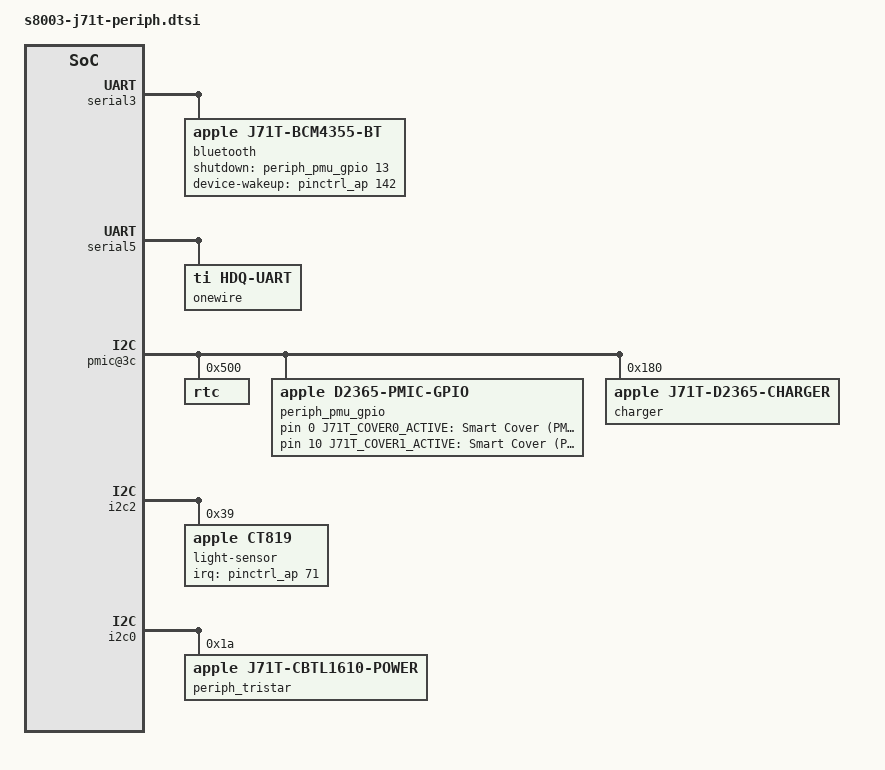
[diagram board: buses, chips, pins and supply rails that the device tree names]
// SPDX-License-Identifier: GPL-2.0+ OR MIT
/* Round 1 J71t peripherals. Hardware values: Apple's J71t ADT. */

#include <dt-bindings/input/input.h>

/*
 * Smart Cover hall sensors: PMIC GPIO lines 0 ("halleffect") and 10
 * ("halleffect1") in the ADT's /buttons node. Which level means "cover
 * closed" is not measured yet (docs/periph/ds-als-hall.md H1); the guess is a
 * magnet pulling the line low. After measuring with evtest, change the
 * define (GPIO_ACTIVE_HIGH if SW_LID reads 1 with the cover open) and rebuild
 * the dtb, or flip the flag of a built dtb with scripts/sensors/cover-polarity.sh.
 */
#define J71T_COVER0_ACTIVE	GPIO_ACTIVE_LOW
#define J71T_COVER1_ACTIVE	GPIO_ACTIVE_LOW

/ {
	aliases {
		serial3 = &serial3;
		serial5 = &serial5;
		bluetooth0 = &bluetooth;
	};

	/*
	 * Not named "Lid Switch": systemd-logind and Omarchy's Hyprland
	 * bindings pick the lid up by that name and would suspend on a cover
	 * close, which does not resume yet. The ipad-lid user daemon of the
	 * tablet layer reads these instead.
	 *
	 * Polled: gpio-apple-d2365 has no irq_chip, so there is no wakeup
	 * either (docs/periph/ds-als-hall.md 4.2). Each line is its own device so
	 * that one the PMIC keeps for itself (the driver refuses those) cannot
	 * take the other down.
	 */
	smart-cover {
		compatible = "gpio-keys-polled";
		poll-interval = <50>;
		label = "iPad Smart Cover";

		lid-switch {
			label = "Smart Cover (PMIC GPIO 0)";
			gpios = <&periph_pmu_gpio 0 J71T_COVER0_ACTIVE>;
			linux,input-type = <EV_SW>;
			linux,code = <SW_LID>;
			debounce-interval = <50>;
		};
	};

	/*
	 * The second hall, which this does not tell apart from the first one
	 * (H4): a code of its own, so evtest shows each line separately.
	 */
	smart-cover-aux {
		compatible = "gpio-keys-polled";
		poll-interval = <50>;
		label = "iPad Smart Cover 2";

		cover-switch {
			label = "Smart Cover (PMIC GPIO 10)";
			gpios = <&periph_pmu_gpio 10 J71T_COVER1_ACTIVE>;
			linux,input-type = <EV_SW>;
			linux,code = <SW_MACHINE_COVER>;
			debounce-interval = <50>;
		};
	};
};

&{/soc} {
	serial3: serial@20a0cc000 {
		compatible = "apple,s8000-uart", "apple,s5l-uart";
		reg = <0x2 0x0a0cc000 0 0x4000>;
		reg-io-width = <4>;
		interrupts = <AIC_IRQ 195 IRQ_TYPE_LEVEL_HIGH>;
		clocks = <&clkref>, <&clkref>;
		clock-names = "uart", "clk_uart_baud0";
		power-domains = <&ps_uart3>;
		pinctrl-0 = <&bluetooth_uart3_pins>;
		pinctrl-names = "default";
		uart-has-rtscts;
		status = "okay";

		bluetooth: bluetooth {
			compatible = "apple,j71t-bcm4355-bt";
			/* 115200 ROM rate inferred from A10; runtime rate is in ADT. */
			current-speed = <115200>;
			max-speed = <3000000>;
			shutdown-gpios = <&periph_pmu_gpio 13 GPIO_ACTIVE_HIGH>;
			device-wakeup-gpios = <&pinctrl_ap 142 GPIO_ACTIVE_HIGH>;
		};
	};

	serial5: serial@20a0d4000 {
		compatible = "apple,s5l-uart";
		reg = <0x2 0x0a0d4000 0 0x4000>;
		reg-io-width = <4>;
		interrupts = <AIC_IRQ 197 IRQ_TYPE_LEVEL_HIGH>;
		clocks = <&clkref>, <&clkref>;
		clock-names = "uart", "clk_uart_baud0";
		power-domains = <&ps_uart5>;
		pinctrl-0 = <&battery_swi_pins>;
		pinctrl-names = "default";
		status = "okay";

		onewire {
			compatible = "ti,hdq-uart";

			battery: fuel-gauge {
				/* ADT bq27540; uses the experimental J172 map, not an ID claim. */
				compatible = "apple,j71t-bq27540";
			};
		};
	};
};

&pinctrl_ap {
	bluetooth_uart3_pins: bluetooth-uart3-pins {
		pinmux = <APPLE_PINMUX(88, 1)>, <APPLE_PINMUX(89, 1)>,
			 <APPLE_PINMUX(90, 1)>, <APPLE_PINMUX(91, 1)>;
	};

	battery_swi_pins: battery-swi-pins {
		pinmux = <APPLE_PINMUX(2, 1)>;
	};
};

&{/soc/i2c@20a110000/pmic@3c} {
	/* Internal register offsets are not CPU MMIO resources. */
	#size-cells = <0>;

	rtc@500 {
		reg = <0x500>;
	};

	nvmem@5000 {
		reg = <0x5000>;
		size = <0x28>;
		read-only;
	};

	periph_pmu_gpio: gpio {
		compatible = "apple,d2365-pmic-gpio";
		gpio-controller;
		#gpio-cells = <2>;
		/* Line 13 is Bluetooth enable, 0 and 10 the Smart Cover halls. */
		gpio-reserved-ranges = <1 9>, <11 2>, <14 10>;
	};

	charger@180 {
		/* Automatic policy uses source authorization and private CBAT. */
		compatible = "apple,j71t-d2365-charger";
		reg = <0x180>, <0xa00>;
		reg-names = "status", "control";
		power-supplies = <&periph_tristar>;
	};
};

&i2c2 {
	status = "okay";

	light-sensor@39 {
		compatible = "apple,ct819", "amstaos,tsl2581";
		reg = <0x39>;
		interrupts-extended = <&pinctrl_ap 71 IRQ_TYPE_LEVEL_LOW>;
		firmware-name = "apple/j71t-LSCI.bin";
	};
};

&i2c0 {
	periph_tristar: power-controller@1a {
		apple,usb-role-switch = <&usb_role>;
		compatible = "apple,j71t-cbtl1610-power";
		usb-controller = <&usbdev>;
		apple,pmic = <&{/soc/i2c@20a110000/pmic@3c}>;
		reg = <0x1a>;
	};
};

&usbdev {
	apple,host-current-budget;
};
